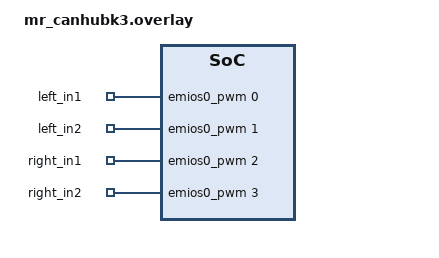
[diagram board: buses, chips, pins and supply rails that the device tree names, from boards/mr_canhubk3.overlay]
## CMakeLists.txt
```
cmake_minimum_required(VERSION 3.20.0)
find_package(Zephyr REQUIRED HINTS $ENV{ZEPHYR_BASE})
project(s32k344_wheel_node)

target_sources(app PRIVATE src/main.c src/lab_logic.c)

if(CONFIG_LAB_USE_SOLUTION)
  target_sources(app PRIVATE src/student_solution.c)
else()
  target_sources(app PRIVATE src/student.c)
endif()

if(CONFIG_ARCH_POSIX)
  target_sources(app PRIVATE src/hal_sim.c)
else()
  target_sources(app PRIVATE src/hal_s32k344.c)
endif()
```

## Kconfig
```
mainmenu "Class 10 S32K344 wheel node"

config LAB_BROKER_ADDR
	string "MQTT broker IPv4 address (the NUC)"
	default "192.168.50.1"

config LAB_BROKER_PORT
	int "MQTT broker TCP port"
	default 18883

config LAB_MQTT_PREFIX
	string "MQTT topic prefix, unique per robot"
	default "class10/robot01"

config LAB_ALLOW_PWM
	bool "Accept wheel PWM commands (wheels lifted only!)"
	help
	  When disabled the node is read-only: it never subscribes to
	  <prefix>/wheel_pwm and every motor input stays low.

config LAB_USE_SOLUTION
	bool "Build src/student_solution.c instead of src/student.c"

config LAB_SIM_HAND_SPIN
	bool "native_sim: turn the simulated wheel at 120 ticks/s"
	depends on ARCH_POSIX

source "Kconfig.zephyr"
```

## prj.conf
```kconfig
# Networking + MQTT 3.1.1 over plain TCP (lab network only)
CONFIG_NETWORKING=y
CONFIG_NET_IPV4=y
CONFIG_NET_IPV6=n
CONFIG_NET_TCP=y
CONFIG_NET_SOCKETS=y
CONFIG_POSIX_API=y
CONFIG_MQTT_LIB=y

# printf of int64 and float in JSON payloads
CONFIG_CBPRINTF_FP_SUPPORT=y
CONFIG_REQUIRES_FULL_LIBC=y

CONFIG_LOG=y
CONFIG_MAIN_STACK_SIZE=4096
CONFIG_SYSTEM_WORKQUEUE_STACK_SIZE=2048
```

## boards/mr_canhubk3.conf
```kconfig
# Static IPv4 on the 100BASE-T1 port (via RDDRONE-T1ADAPT to the NUC).
# Give every robot a unique address and MQTT prefix.
CONFIG_NET_CONFIG_SETTINGS=y
CONFIG_NET_CONFIG_NEED_IPV4=y
CONFIG_NET_CONFIG_MY_IPV4_ADDR="192.168.50.20"
CONFIG_NET_CONFIG_MY_IPV4_NETMASK="255.255.255.0"
CONFIG_NET_CONFIG_INIT_TIMEOUT=10

CONFIG_PWM=y
CONFIG_SENSOR=y

# No TRNG driver: timer-based random, only used to tell resets apart.
CONFIG_ENTROPY_GENERATOR=y
CONFIG_TEST_RANDOM_GENERATOR=y
```

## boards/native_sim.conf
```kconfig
# Run the firmware as a Linux process: host sockets, simulated wheel.
CONFIG_NET_DRIVERS=y
CONFIG_NET_SOCKETS_OFFLOAD=y
CONFIG_NET_NATIVE_OFFLOADED_SOCKETS=y
CONFIG_ETH_NATIVE_TAP=n
CONFIG_LAB_BROKER_ADDR="127.0.0.1"
CONFIG_LAB_MQTT_PREFIX="class10/fw"
# Different boot_id on every run
CONFIG_NATIVE_EXTRA_CMDLINE_ARGS="--seed-random"
```

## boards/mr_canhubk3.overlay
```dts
/*
 * MR-CANHUBK3 (S32K344) wiring for the class 10 wheel node.
 * CHECK AGAINST YOUR ROBOT before enabling CONFIG_LAB_ALLOW_PWM.
 *
 * Encoder: board qdec0 = eMIOS0 ch6/7 via LCU1 + TRGMUX, phases on PTB2/PTB3.
 * Motors : eMIOS0 PWM ch0..3 on PTB12..PTB15 (board emios0_default pinctrl),
 *          2-input H-bridge per wheel (e.g. DRV8833): IN1 forward, IN2 reverse.
 */
#include <zephyr/dt-bindings/pwm/pwm.h>

/ {
	zephyr,user {
		/* 1 kHz: the eMIOS0 channel clock is 100 kHz -> 100 duty steps */
		pwms = <&emios0_pwm 0 PWM_MSEC(1) PWM_POLARITY_NORMAL>,
		       <&emios0_pwm 1 PWM_MSEC(1) PWM_POLARITY_NORMAL>,
		       <&emios0_pwm 2 PWM_MSEC(1) PWM_POLARITY_NORMAL>,
		       <&emios0_pwm 3 PWM_MSEC(1) PWM_POLARITY_NORMAL>;
		pwm-names = "left_in1", "left_in2", "right_in1", "right_in2";
	};
};

&qdec0 {
	/*
	 * Decoded ticks per WHEEL revolution x 1e6 (include the gearbox).
	 * Measure it: mark the wheel, turn exactly 10 revolutions by hand and
	 * divide the tick change by 10. Keep it a whole number of ticks.
	 */
	micro-ticks-per-rev = <600000000>;
};
```

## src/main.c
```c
/*
 * Class 10 v2 -- S32K344 wheel node: encoder -> MQTT -> NUC bridge -> ROS 2.
 *
 * Two threads, deliberately separated:
 *  - control thread (every 5 ms): local watchdog, always drives the motors,
 *    even when the network, broker or NUC is gone;
 *  - main thread: MQTT client, 10 Hz encoder telemetry, receives wheel PWM.
 */
#include <errno.h>
#include <stdio.h>
#include <string.h>

#include <zephyr/kernel.h>
#include <zephyr/logging/log.h>
#include <zephyr/net/mqtt.h>
#include <zephyr/net/socket.h>
#include <zephyr/random/random.h>
#include <zephyr/sys/atomic.h>

#include "hal.h"
#include "lab_logic.h"

LOG_MODULE_REGISTER(wheel_node, LOG_LEVEL_INF);

#define PREFIX CONFIG_LAB_MQTT_PREFIX
#define CONTROL_PERIOD_MS 5
#define PUBLISH_PERIOD_MS 100

static char boot_id[17];
static char topic_encoder[64];
static char topic_applied[64];
static char topic_pwm[64];

static K_MUTEX_DEFINE(cmd_lock);
static lab_cmd_t cmd;
static atomic_t mqtt_up;
static float applied_left;
static float applied_right;

static uint8_t rx_buf[512];
static uint8_t tx_buf[512];
static struct mqtt_client client;
static struct sockaddr_storage broker;

/* ------------------------------------------------------------------ control */

static void control_thread(void *a, void *b, void *c)
{
	ARG_UNUSED(a);
	ARG_UNUSED(b);
	ARG_UNUSED(c);
	float left = 0.0f, right = 0.0f;
	float last_left = 1.0f, last_right = 1.0f; /* force first write */

	while (true) {
		k_mutex_lock(&cmd_lock, K_FOREVER);
		lab_step(&cmd, k_uptime_get_32(), atomic_get(&mqtt_up) != 0,
			 &left, &right);
		applied_left = left;
		applied_right = right;
		k_mutex_unlock(&cmd_lock);

		if (left != last_left || right != last_right) {
			if (hal_set_wheels(left, right) != 0) {
				LOG_ERR("PWM write failed");
			}
			last_left = left;
			last_right = right;
		}
		k_msleep(CONTROL_PERIOD_MS);
	}
}

K_THREAD_DEFINE(control_tid, 2048, control_thread, NULL, NULL, NULL,
		K_PRIO_PREEMPT(2), 0, K_TICKS_FOREVER);

/* --------------------------------------------------------------------- mqtt */

static void handle_pwm(const struct mqtt_publish_param *pub)
{
	char payload[256];
	uint32_t len = pub->message.payload.len;
	float left, right;
	uint32_t valid_ms;
	bool ok = false;

	if (len < sizeof(payload)) {
		ok = mqtt_readall_publish_payload(&client, payload, len) == 0;
	} else {
		/* Too long for the contract: drain it and treat as invalid. */
		while (len > 0U) {
			uint32_t chunk = MIN(len, sizeof(payload));

			if (mqtt_readall_publish_payload(&client, payload, chunk) != 0) {
				break;
			}
			len -= chunk;
		}
	}

	ok = ok && !pub->retain_flag &&
	     lab_parse_pwm(payload, pub->message.payload.len, boot_id,
			   &left, &right, &valid_ms);

	k_mutex_lock(&cmd_lock, K_FOREVER);
	if (ok) {
		ok = lab_command(&cmd, left, right, valid_ms, k_uptime_get_32());
	} else {
		cmd.active = false; /* invalid input stops, never keeps moving */
	}
	k_mutex_unlock(&cmd_lock);
	if (!ok) {
		LOG_WRN("rejected wheel_pwm command");
	}
}

static void mqtt_evt(struct mqtt_client *const c, const struct mqtt_evt *evt)
{
	switch (evt->type) {
	case MQTT_EVT_CONNACK:
		if (evt->result == 0) {
			/*
			 * New boot_id per reset; the bridge uses it to reset its
			 * baselines. Created after the first CONNACK because the
			 * link-up/TCP timing then differs on every boot.
			 */
			if (boot_id[0] == '\0') {
				snprintf(boot_id, sizeof(boot_id), "%08x%08x",
					 sys_rand32_get(), k_cycle_get_32());
			}
			atomic_set(&mqtt_up, 1);
			LOG_INF("MQTT connected, boot_id %s", boot_id);
		}
		break;
	case MQTT_EVT_DISCONNECT:
		atomic_set(&mqtt_up, 0);
		LOG_WRN("MQTT disconnected");
		break;
	case MQTT_EVT_PUBLISH: {
		const struct mqtt_publish_param *pub = &evt->param.publish;

		if (pub->message.topic.topic.size == strlen(topic_pwm) &&
		    memcmp(pub->message.topic.topic.utf8, topic_pwm,
			   pub->message.topic.topic.size) == 0) {
			handle_pwm(pub);
		}
		break;
	}
	default:
		break;
	}
	ARG_UNUSED(c);
}

static int publish(const char *topic, const char *payload)
{
	struct mqtt_publish_param p = {0};

	p.message.topic.topic.utf8 = (const uint8_t *)topic;
	p.message.topic.topic.size = strlen(topic);
	p.message.topic.qos = MQTT_QOS_0_AT_MOST_ONCE;
	p.message.payload.data = (uint8_t *)payload;
	p.message.payload.len = strlen(payload);
	p.retain_flag = 0U; /* live telemetry is never retained */
	return mqtt_publish(&client, &p);
}

static void publish_telemetry(void)
{
	char buf[160];
	double rotation;
	float left, right;

	if (hal_read_rotation(&rotation) != 0) {
		LOG_WRN("encoder read failed");
		return;
	}
	int64_t ticks = student_ticks_from_rotation(rotation, hal_ticks_per_rev());

	if (lab_format_encoder(buf, sizeof(buf), ticks, k_uptime_get(), boot_id) > 0) {
		publish(topic_encoder, buf);
	}

	k_mutex_lock(&cmd_lock, K_FOREVER);
	left = applied_left;
	right = applied_right;
	k_mutex_unlock(&cmd_lock);
	snprintf(buf, sizeof(buf), "{\"left\":%.3f,\"right\":%.3f}",
		 (double)left, (double)right);
	publish(topic_applied, buf);
}

static int subscribe_pwm(void)
{
	struct mqtt_topic t = {
		.topic = {.utf8 = (const uint8_t *)topic_pwm, .size = strlen(topic_pwm)},
		.qos = MQTT_QOS_0_AT_MOST_ONCE,
	};
	struct mqtt_subscription_list list = {
		.list = &t, .list_count = 1U, .message_id = 1U,
	};

	return mqtt_subscribe(&client, &list);
}

static int connect_broker(void)
{
	struct sockaddr_in *b4 = (struct sockaddr_in *)&broker;
	struct zsock_pollfd pfd;
	int rc;

	b4->sin_family = AF_INET;
	b4->sin_port = htons(CONFIG_LAB_BROKER_PORT);
	zsock_inet_pton(AF_INET, CONFIG_LAB_BROKER_ADDR, &b4->sin_addr);

	mqtt_client_init(&client);
	client.broker = &broker;
	client.evt_cb = mqtt_evt;
	/* One client per robot: a reconnect replaces its own stale session. */
	client.client_id.utf8 = (const uint8_t *)PREFIX;
	client.client_id.size = strlen(PREFIX);
	client.protocol_version = MQTT_VERSION_3_1_1;
	client.clean_session = 1U;
	client.keepalive = 10U;
	client.rx_buf = rx_buf;
	client.rx_buf_size = sizeof(rx_buf);
	client.tx_buf = tx_buf;
	client.tx_buf_size = sizeof(tx_buf);
	client.transport.type = MQTT_TRANSPORT_NON_SECURE;

	rc = mqtt_connect(&client);
	if (rc != 0) {
		return rc;
	}
	pfd.fd = client.transport.tcp.sock;
	pfd.events = ZSOCK_POLLIN;
	for (int i = 0; i < 20 && !atomic_get(&mqtt_up); i++) {
		if (zsock_poll(&pfd, 1, 100) > 0 && mqtt_input(&client) != 0) {
			break;
		}
	}
	if (!atomic_get(&mqtt_up)) {
		mqtt_abort(&client);
		return -ETIMEDOUT;
	}
	if (IS_ENABLED(CONFIG_LAB_ALLOW_PWM)) {
		return subscribe_pwm();
	}
	return 0;
}

static void serve_connection(void)
{
	struct zsock_pollfd pfd = {
		.fd = client.transport.tcp.sock, .events = ZSOCK_POLLIN,
	};
	int64_t next_pub = k_uptime_get();

	while (atomic_get(&mqtt_up)) {
		int64_t wait = MAX(0, next_pub - k_uptime_get());
		int rc = zsock_poll(&pfd, 1, (int)MIN(wait, 50));

		if (rc > 0 && ((pfd.revents & (ZSOCK_POLLERR | ZSOCK_POLLHUP)) ||
			       mqtt_input(&client) != 0)) {
			break;
		}
		if (rc < 0) {
			break;
		}
		rc = mqtt_live(&client);
		if (rc != 0 && rc != -EAGAIN) { /* -EAGAIN: no ping due yet */
			break;
		}
		if (k_uptime_get() >= next_pub) {
			publish_telemetry();
			next_pub += PUBLISH_PERIOD_MS;
			if (next_pub < k_uptime_get()) {
				next_pub = k_uptime_get() + PUBLISH_PERIOD_MS;
			}
		}
	}
	atomic_set(&mqtt_up, 0); /* control thread zeros outputs immediately */
	mqtt_abort(&client);
}

int main(void)
{
	lab_init(&cmd);
	if (hal_init() != 0) {
		LOG_ERR("hardware init failed; motors stay off");
		return 0;
	}
	k_thread_start(control_tid);

	LOG_INF("student self-test: %s", lab_student_selftest() ? "PASS" :
		"FAIL (complete ## TODO in src/student.c)");
	LOG_INF("broker %s:%d prefix %s, wheel PWM %s", CONFIG_LAB_BROKER_ADDR,
		CONFIG_LAB_BROKER_PORT, PREFIX,
		IS_ENABLED(CONFIG_LAB_ALLOW_PWM) ? "ENABLED" : "disabled (read-only)");

	snprintf(topic_encoder, sizeof(topic_encoder), "%s/encoder", PREFIX);
	snprintf(topic_applied, sizeof(topic_applied), "%s/applied_pwm", PREFIX);
	snprintf(topic_pwm, sizeof(topic_pwm), "%s/wheel_pwm", PREFIX);

	while (true) {
		int rc = connect_broker();

		if (rc == 0) {
			serve_connection();
		} else {
			LOG_WRN("broker connect failed (%d), retrying", rc);
		}
		k_msleep(1000);
	}
	return 0;
}
```

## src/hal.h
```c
#ifndef LAB_HAL_H
#define LAB_HAL_H

#include <stdint.h>

/* Initialise encoder + motor outputs; outputs are left at zero. */
int hal_init(void);

/* Cumulative left-wheel angle in radians since boot. */
int hal_read_rotation(double *rotation_rad);

/* Decoded encoder ticks per wheel revolution (from devicetree). */
double hal_ticks_per_rev(void);

/* Apply signed duty [-1, 1] to both wheels via student_hbridge_pulses(). */
int hal_set_wheels(float left, float right);

#endif
```

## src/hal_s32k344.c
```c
/*
 * S32K344 hardware layer (MR-CANHUBK3 or any board with the same overlay):
 *  - encoder: alias qdec0, NXP eMIOS + LCU + TRGMUX quadrature decoder
 *  - motors : zephyr,user pwms[0..3] = left IN1/IN2, right IN1/IN2 (eMIOS)
 * Pins and calibration live in boards/<board>.overlay, not in this file.
 */
#include "hal.h"
#include "lab_logic.h"

#include <zephyr/device.h>
#include <zephyr/devicetree.h>
#include <zephyr/drivers/pwm.h>
#include <zephyr/drivers/sensor.h>
#include <zephyr/logging/log.h>

LOG_MODULE_REGISTER(hal, LOG_LEVEL_INF);

#define QDEC_NODE DT_ALIAS(qdec0)
#define USER_NODE DT_PATH(zephyr_user)

/* The driver converts with integer division, so do the same here. */
#define TICKS_PER_REV (DT_PROP(QDEC_NODE, micro_ticks_per_rev) / 1000000)

static const struct device *const qdec = DEVICE_DT_GET(QDEC_NODE);
static const struct pwm_dt_spec motor[4] = {
	PWM_DT_SPEC_GET_BY_NAME(USER_NODE, left_in1),
	PWM_DT_SPEC_GET_BY_NAME(USER_NODE, left_in2),
	PWM_DT_SPEC_GET_BY_NAME(USER_NODE, right_in1),
	PWM_DT_SPEC_GET_BY_NAME(USER_NODE, right_in2),
};

int hal_init(void)
{
	for (size_t i = 0; i < ARRAY_SIZE(motor); i++) {
		if (!pwm_is_ready_dt(&motor[i])) {
			LOG_ERR("PWM %u not ready", (unsigned int)i);
			return -ENODEV;
		}
		pwm_set_pulse_dt(&motor[i], 0);
	}
	if (!device_is_ready(qdec)) {
		LOG_ERR("qdec0 not ready");
		return -ENODEV;
	}
	LOG_INF("encoder %d ticks/rev, PWM period %u ns", TICKS_PER_REV,
		motor[0].period);
	return 0;
}

int hal_read_rotation(double *rotation_rad)
{
	struct sensor_value val;
	int rc = sensor_sample_fetch(qdec);

	if (rc == 0) {
		rc = sensor_channel_get(qdec, SENSOR_CHAN_ROTATION, &val);
	}
	if (rc == 0) {
		*rotation_rad = sensor_value_to_double(&val);
	}
	return rc;
}

double hal_ticks_per_rev(void)
{
	return (double)TICKS_PER_REV;
}

static int set_wheel(const struct pwm_dt_spec *in1,
		     const struct pwm_dt_spec *in2, float duty)
{
	uint32_t p1, p2;

	student_hbridge_pulses(duty, in1->period, &p1, &p2);
	if (p1 != 0U && p2 != 0U) {
		p1 = p2 = 0U; /* never drive both bridge inputs */
	}
	/* Lower the inactive input first so both are never high together. */
	int rc = pwm_set_pulse_dt(p1 ? in2 : in1, 0);

	rc |= pwm_set_pulse_dt(p1 ? in1 : in2, p1 ? p1 : p2);
	return rc;
}

int hal_set_wheels(float left, float right)
{
	return set_wheel(&motor[0], &motor[1], left) |
	       set_wheel(&motor[2], &motor[3], right);
}
```

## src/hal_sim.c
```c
/*
 * native_sim hardware model: lets the SAME firmware run on the NUC/laptop
 * against a real Mosquitto broker when no S32K344 board is available.
 * The left wheel turns at 1200 ticks/s per unit duty (0.1 -> 120 ticks/s),
 * or at a constant 120 ticks/s with CONFIG_LAB_SIM_HAND_SPIN ("hand spin").
 */
#include "hal.h"
#include "lab_logic.h"

#include <zephyr/kernel.h>
#include <zephyr/logging/log.h>

LOG_MODULE_REGISTER(hal_sim, LOG_LEVEL_INF);

#define SIM_TICKS_PER_REV 600.0
#define SIM_PERIOD_NS 1000000U

static struct k_spinlock lock;
static double ticks;
static double ticks_per_s;
static int64_t last_ms;

static void integrate(void)
{
	int64_t now = k_uptime_get();

	ticks += ticks_per_s * (double)(now - last_ms) / 1000.0;
	last_ms = now;
}

int hal_init(void)
{
	last_ms = k_uptime_get();
	ticks_per_s = IS_ENABLED(CONFIG_LAB_SIM_HAND_SPIN) ? 120.0 : 0.0;
	LOG_INF("simulated encoder %d ticks/rev%s", (int)SIM_TICKS_PER_REV,
		IS_ENABLED(CONFIG_LAB_SIM_HAND_SPIN) ? ", hand spin 120 ticks/s" : "");
	return 0;
}

int hal_read_rotation(double *rotation_rad)
{
	k_spinlock_key_t key = k_spin_lock(&lock);

	integrate();
	*rotation_rad = ticks * LAB_TWO_PI / SIM_TICKS_PER_REV;
	k_spin_unlock(&lock, key);
	return 0;
}

double hal_ticks_per_rev(void)
{
	return SIM_TICKS_PER_REV;
}

int hal_set_wheels(float left, float right)
{
	uint32_t in1, in2;

	ARG_UNUSED(right); /* one encoder, on the left wheel */
	/* Use the student's H-bridge mapping so the simulator exercises it too. */
	student_hbridge_pulses(left, SIM_PERIOD_NS, &in1, &in2);
	if (IS_ENABLED(CONFIG_LAB_SIM_HAND_SPIN)) {
		return 0;
	}
	k_spinlock_key_t key = k_spin_lock(&lock);

	integrate();
	ticks_per_s = 1200.0 * ((double)in1 - (double)in2) / SIM_PERIOD_NS;
	k_spin_unlock(&lock, key);
	return 0;
}
```

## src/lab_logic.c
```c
#include "lab_logic.h"

#include <math.h>
#include <stdio.h>
#include <stdlib.h>
#include <string.h>

void lab_init(lab_cmd_t *cmd)
{
	*cmd = (lab_cmd_t){0};
}

bool lab_command(lab_cmd_t *cmd, float left, float right,
		 uint32_t valid_ms, uint32_t now_ms)
{
	if (!isfinite(left) || !isfinite(right) ||
	    fabsf(left) > LAB_MAX_DUTY || fabsf(right) > LAB_MAX_DUTY ||
	    valid_ms == 0U || valid_ms > LAB_MAX_VALID_MS) {
		cmd->active = false;
		return false;
	}
	cmd->left = left;
	cmd->right = right;
	cmd->command_ms = now_ms;
	cmd->valid_ms = valid_ms;
	cmd->active = true;
	return true;
}

void lab_step(lab_cmd_t *cmd, uint32_t now_ms, bool link_ok,
	      float *left, float *right)
{
	/* Unsigned subtraction keeps the timeout correct across 32-bit wrap. */
	if (!link_ok || (uint32_t)(now_ms - cmd->command_ms) >= cmd->valid_ms) {
		cmd->active = false;
	}
	*left = cmd->active ? cmd->left : 0.0f;
	*right = cmd->active ? cmd->right : 0.0f;
}

int lab_format_encoder(char *buf, size_t size, int64_t ticks,
		       int64_t uptime_ms, const char *boot_id)
{
	int n = snprintf(buf, size,
			 "{\"ticks\":%lld,\"uptime_ms\":%lld,\"boot_id\":\"%s\"}",
			 (long long)ticks, (long long)uptime_ms, boot_id);

	return (n < 0 || (size_t)n >= size) ? -1 : n;
}

/* Minimal parser for the fixed bridge contract, not a general JSON parser. */
static const char *json_value(const char *json, const char *key)
{
	char pattern[24];
	const char *p;

	if (snprintf(pattern, sizeof(pattern), "\"%s\"", key) >= (int)sizeof(pattern)) {
		return NULL;
	}
	p = strstr(json, pattern);
	if (p == NULL) {
		return NULL;
	}
	p += strlen(pattern);
	while (*p == ' ' || *p == '\t') {
		p++;
	}
	if (*p++ != ':') {
		return NULL;
	}
	while (*p == ' ' || *p == '\t') {
		p++;
	}
	return p;
}

static bool json_end(const char *p)
{
	while (*p == ' ' || *p == '\t') {
		p++;
	}
	return *p == ',' || *p == '}';
}

static bool json_float(const char *json, const char *key, float *out)
{
	const char *p = json_value(json, key);
	char *end;

	if (p == NULL) {
		return false;
	}
	*out = strtof(p, &end);
	return end != p && json_end(end) && isfinite(*out);
}

bool lab_parse_pwm(const char *json, size_t len, const char *boot_id,
		   float *left, float *right, uint32_t *valid_ms)
{
	char buf[256];
	const char *p;
	char *end;
	size_t id_len = strlen(boot_id);
	unsigned long ms;

	if (len == 0U || len >= sizeof(buf) || memchr(json, '\0', len) != NULL) {
		return false;
	}
	memcpy(buf, json, len);
	buf[len] = '\0';

	if (!json_float(buf, "left", left) || !json_float(buf, "right", right)) {
		return false;
	}
	p = json_value(buf, "valid_ms");
	if (p == NULL || *p < '0' || *p > '9') {
		return false;
	}
	ms = strtoul(p, &end, 10);
	if (!json_end(end) || ms == 0UL || ms > LAB_MAX_VALID_MS) {
		return false;
	}
	*valid_ms = (uint32_t)ms;

	p = json_value(buf, "boot_id");
	if (p == NULL || *p != '"' || strncmp(p + 1, boot_id, id_len) != 0 ||
	    p[1 + id_len] != '"' || !json_end(p + 2 + id_len)) {
		return false;
	}
	return fabsf(*left) <= LAB_MAX_DUTY && fabsf(*right) <= LAB_MAX_DUTY;
}

bool lab_student_selftest(void)
{
	uint32_t in1, in2;
	bool ok = true;

	ok &= student_ticks_from_rotation(LAB_TWO_PI, 600.0) == 600;
	ok &= student_ticks_from_rotation(-0.5 * LAB_TWO_PI, 600.0) == -300;
	student_hbridge_pulses(0.25f, 1000000U, &in1, &in2);
	ok &= in1 == 250000U && in2 == 0U;
	student_hbridge_pulses(-0.1f, 1000000U, &in1, &in2);
	ok &= in1 == 0U && in2 == 100000U;
	return ok;
}
```

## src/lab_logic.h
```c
/*
 * Portable lab logic: no Zephyr or NXP headers, so it is unit-tested on the
 * host (tests/host_test.c) and linked unchanged into the S32K344 firmware.
 */
#ifndef LAB_LOGIC_H
#define LAB_LOGIC_H

#include <stdbool.h>
#include <stddef.h>
#include <stdint.h>

#define LAB_MAX_DUTY 0.2f
#define LAB_MAX_VALID_MS 250U
#define LAB_TWO_PI 6.283185307179586

/* Last accepted wheel command and its local expiry (receive-time watchdog). */
typedef struct {
	float left;
	float right;
	uint32_t command_ms;
	uint32_t valid_ms;
	bool active;
} lab_cmd_t;

void lab_init(lab_cmd_t *cmd);

/* Accept a validated command; anything invalid deactivates outputs. */
bool lab_command(lab_cmd_t *cmd, float left, float right,
		 uint32_t valid_ms, uint32_t now_ms);

/* Duty that must be applied now. Zero after expiry or link loss. */
void lab_step(lab_cmd_t *cmd, uint32_t now_ms, bool link_ok,
	      float *left, float *right);

/* {"ticks":..,"uptime_ms":..,"boot_id":".."}; returns length or -1. */
int lab_format_encoder(char *buf, size_t size, int64_t ticks,
		       int64_t uptime_ms, const char *boot_id);

/*
 * Parse {"left":f,"right":f,"valid_ms":n,"boot_id":"s"} as sent by the ROS
 * bridge. Rejects malformed JSON fields, wrong boot_id and out-of-range data.
 */
bool lab_parse_pwm(const char *json, size_t len, const char *boot_id,
		   float *left, float *right, uint32_t *valid_ms);

/* ---- Student exercise (src/student.c, reference in student_solution.c) ---- */

/* Cumulative quadrature angle (rad) -> nearest integer decoded tick count. */
int64_t student_ticks_from_rotation(double rotation_rad, double ticks_per_rev);

/*
 * Signed duty in [-1, 1] -> pulse widths for a 2-input H-bridge
 * (DRV8833/DRV8871 style): forward drives IN1, reverse drives IN2,
 * zero (or invalid) leaves both inputs low.
 */
void student_hbridge_pulses(float duty, uint32_t period_ns,
			    uint32_t *in1_ns, uint32_t *in2_ns);

/* Boot-time self-check of the two student functions. */
bool lab_student_selftest(void);

#endif
```

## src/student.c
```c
/*
 * STUDENT FILE: complete both functions, then run tests/run_host_tests.sh.
 * The firmware prints "student self-test: PASS" on the serial console at boot
 * once they are correct. Until then the encoder reports 0 ticks and the motor
 * inputs stay low (safe default).
 */
#include "lab_logic.h"

#include <math.h>

int64_t student_ticks_from_rotation(double rotation_rad, double ticks_per_rev)
{
	/*
	 * The S32K344 qdec driver returns the cumulative wheel angle in radians:
	 *   rotation_rad = ticks * 2*pi / ticks_per_rev
	 * Invert that and round to the nearest integer (use llround and LAB_TWO_PI).
	 */
	/* ## TODO:: add code here */
	(void)rotation_rad;
	(void)ticks_per_rev;
	return 0;
}

void student_hbridge_pulses(float duty, uint32_t period_ns,
			    uint32_t *in1_ns, uint32_t *in2_ns)
{
	/*
	 * 2-input H-bridge, sign-magnitude drive:
	 *   duty > 0  -> IN1 = |duty| * period, IN2 = 0   (forward)
	 *   duty < 0  -> IN1 = 0, IN2 = |duty| * period   (reverse)
	 *   duty == 0, NaN/inf, or |duty| > 1 -> both 0   (coast, safe)
	 * Never set both inputs high at the same time.
	 */
	*in1_ns = 0U;
	*in2_ns = 0U;
	/* ## TODO:: add code here */
	(void)duty;
	(void)period_ns;
}
```

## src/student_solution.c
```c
/* Reference solution, selected with CONFIG_LAB_USE_SOLUTION=y. */
#include "lab_logic.h"

#include <math.h>

int64_t student_ticks_from_rotation(double rotation_rad, double ticks_per_rev)
{
	return llround(rotation_rad * ticks_per_rev / LAB_TWO_PI);
}

void student_hbridge_pulses(float duty, uint32_t period_ns,
			    uint32_t *in1_ns, uint32_t *in2_ns)
{
	*in1_ns = 0U;
	*in2_ns = 0U;
	if (!isfinite(duty) || fabsf(duty) > 1.0f) {
		return;
	}
	uint32_t pulse = (uint32_t)lroundf(fabsf(duty) * (float)period_ns);

	if (duty > 0.0f) {
		*in1_ns = pulse;
	} else if (duty < 0.0f) {
		*in2_ns = pulse;
	}
}
```
